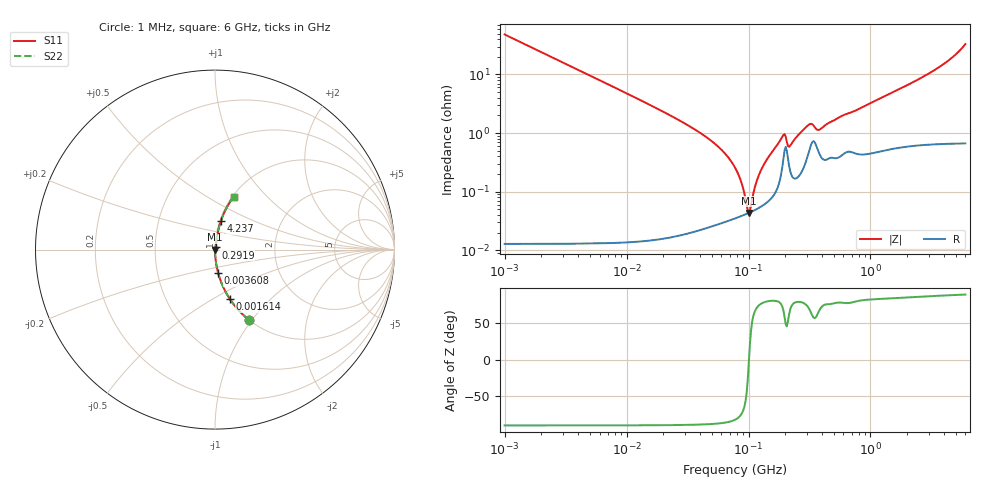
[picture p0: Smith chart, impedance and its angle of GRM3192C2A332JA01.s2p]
!Murata Part Number: GRM3192C2A332JA01
!These Parameters are Measured in Series Mode Connection
!Data Generated on Mar 30, 2021
!  o--ll--o
!Port1  Port2
!  o------o
!Operation Temp=25[degC], DC Bias Voltage=0[V]
!Freq. Start=1000[kHz] Stop=6[GHz] 401[Steps]
# Hz S RI R 50
!Freq.(Hz) S11(Real) S11(Imag) S21(Real) S21(Imag) S12(Real) S12(Imag) S22(Real) S22(Imag)
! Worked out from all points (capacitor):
!   401 points, 1 MHz to 6 GHz, reference 50 ohm
!   read as one part in series: C = 3.3 nF near 1.044 MHz
!   lowest |Z| = 43.5 mohm at 100.6 MHz (marker M1)
!   series resonance near 100.9 MHz, so ESL is about 750 pH
!   S11 on the Smith chart (normalised r, x): 1 MHz: 1.00, -0.96; 1.614 MHz: 1.00, -0.60; 3.608 MHz: 1.00, -0.27; 291.9 MHz: 1.01, +0.02; 4.237 GHz: 1.01, +0.33; 6 GHz: 1.01, +0.66
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1000000  0.1884 -0.3909  0.8116 0.3909  0.8116 0.3909  0.1884 -0.3909
1613609  0.0819 -0.274  0.9181 0.274  0.9181 0.274  0.0819 -0.274
3608090  0.0176 -0.131  0.9824 0.131  0.9824 0.131  0.0176 -0.131
4293785  0.0125 -0.1106  0.9875 0.1106  0.9875 0.1106  0.0125 -0.1106
1.843659e7  0.000789 -0.0252  0.9992 0.0252  0.9992 0.0252  0.000789 -0.0252
4.800399e7  0.000308 -0.00774  0.9997 0.00774  0.9997 0.00774  0.000308 -0.00774
6.368941e7  0.000322 -0.00454  0.9997 0.00454  0.9997 0.00454  0.000322 -0.00454
7.745967e7  0.000355 -0.00256  0.9996 0.00256  0.9996 0.00256  0.000355 -0.00256
8.635799e7  0.000382 -0.0015  0.9996 0.0015  0.9996 0.0015  0.000382 -0.0015
9.627852e7  0.000417 -0.00045  0.9996 0.00045  0.9996 0.00045  0.000417 -0.00045
1.005588e8  0.000434 -3e-05  0.9996 3e-05  0.9996 3e-05  0.000434 -3e-05
1.050294e8  0.000452 0.000392  0.9995 -0.000392  0.9995 -0.000392  0.000452 0.000392
1.145757e8  0.000495 0.00125  0.9995 -0.00125  0.9995 -0.00125  0.000495 0.00125
1.277378e8  0.000567 0.00236  0.9994 -0.00236  0.9994 -0.00236  0.000567 0.00236
1.889453e8  0.00264 0.00819  0.9974 -0.00819  0.9974 -0.00819  0.00264 0.00819
2.200158e8  0.00224 0.00569  0.9978 -0.00569  0.9978 -0.00569  0.00224 0.00569
2.919064e8  0.00315 0.0118  0.9968 -0.0118  0.9968 -0.0118  0.00315 0.0118
3.325952e8  0.00708 0.0122  0.9929 -0.0122  0.9929 -0.0122  0.00708 0.0122
3.872876e8  0.00421 0.0108  0.9958 -0.0108  0.9958 -0.0108  0.00421 0.0108
1.428092e9  0.00731 0.0456  0.9927 -0.0456  0.9927 -0.0456  0.00731 0.0456
4.236675e9  0.0327 0.1591  0.9673 -0.1591  0.9673 -0.1591  0.0327 0.1591
6e9  0.1033 0.2945  0.8967 -0.2945  0.8967 -0.2945  0.1033 0.2945
